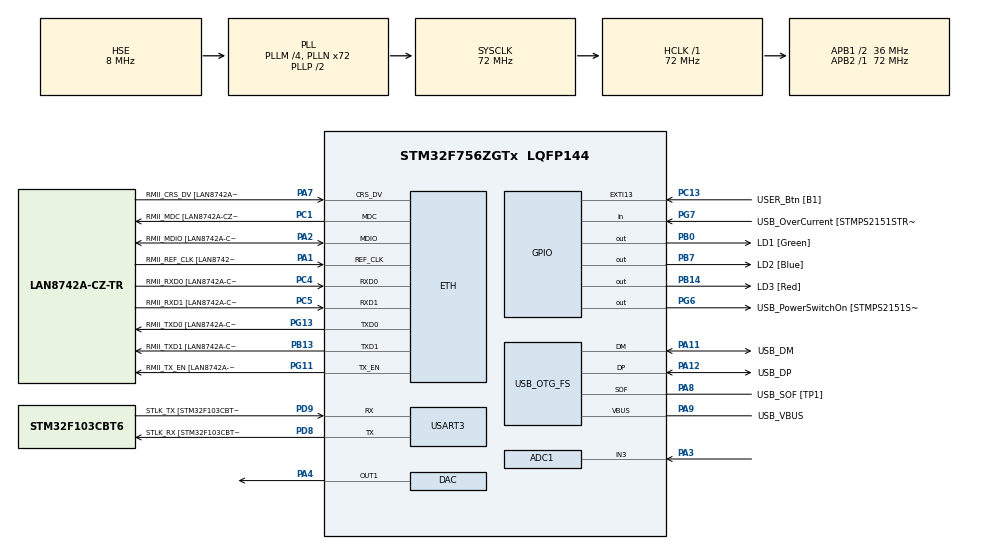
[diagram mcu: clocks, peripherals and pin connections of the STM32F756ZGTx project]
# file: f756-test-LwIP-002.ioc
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ADC1.Channel-0\#ChannelRegularConversion=ADC_CHANNEL_3
ADC1.NbrOfConversionFlag=1
ADC1.Rank-0\#ChannelRegularConversion=1
ADC1.SamplingTime-0\#ChannelRegularConversion=ADC_SAMPLETIME_3CYCLES
ADC1.master=1
DAC.DAC_Trigger=DAC_TRIGGER_NONE
ETH.MediaInterface=ETH_MEDIA_INTERFACE_RMII
ETH.PHY_Name=LAN8742A_PHY_ADDRESS
ETH.PHY_Value=0
ETH.PhyAddress=0
FREERTOS.Tasks01=defaultTask,0,256,StartDefaultTask,Default,NULL,Dynamic,NULL,NULL;t_SetDacValue,2,128,tSetDacValue,Default,NULL,Dynamic,NULL,NULL;t_Console,-2,512,tConsole,Default,NULL,Dynamic,NULL,NULL
FREERTOS.configGENERATE_RUN_TIME_STATS=1
FREERTOS.configUSE_NEWLIB_REENTRANT=1
FREERTOS.configUSE_STATS_FORMATTING_FUNCTIONS=1
FREERTOS.configUSE_TRACE_FACILITY=1
LWIP.LWIP_SNMP=1
LWIP.MEM_SIZE=16360
LWIP.Version=v2.1.2_Cube
Mcu.Family=STM32F7
Mcu.Name=STM32F756ZGTx
Mcu.Package=LQFP144
NVIC.ETH_IRQn=true\:5\:0\:false\:false\:true\:true\:false\:true
NVIC.PriorityGroup=NVIC_PRIORITYGROUP_4
NVIC.TIM1_UP_TIM10_IRQn=true\:15\:0\:false\:false\:true\:false\:false\:true
NVIC.TimeBase=TIM1_UP_TIM10_IRQn
NVIC.TimeBaseIP=TIM1
PA1.GPIO_Label=RMII_REF_CLK [LAN8742A-CZ-TR_REFCLK0]
PA1.Mode=RMII
PA1.Signal=ETH_REF_CLK
PA10.GPIO_Label=USB_ID
PA10.Signal=USB_OTG_FS_ID
PA11.GPIO_Label=USB_DM
PA11.Mode=Device_Only
PA11.Signal=USB_OTG_FS_DM
PA12.GPIO_Label=USB_DP
PA12.Mode=Device_Only
PA12.Signal=USB_OTG_FS_DP
PA13.GPIO_Label=TMS
PA13.Mode=Serial_Wire
PA13.Signal=SYS_JTMS-SWDIO
PA14.GPIO_Label=TCK
PA14.Mode=Serial_Wire
PA14.Signal=SYS_JTCK-SWCLK
PA2.GPIO_Label=RMII_MDIO [LAN8742A-CZ-TR_MDIO]
PA2.Mode=RMII
PA2.Signal=ETH_MDIO
PA3.Signal=ADCx_IN3
PA4.Signal=COMP_DAC1_group
PA7.GPIO_Label=RMII_CRS_DV [LAN8742A-CZ-TR_CRS_DV]
PA7.Mode=RMII
PA7.Signal=ETH_CRS_DV
PA8.GPIO_Label=USB_SOF [TP1]
PA8.Mode=Activate_SOF_FS
PA8.Signal=USB_OTG_FS_SOF
PA9.GPIO_Label=USB_VBUS
PA9.Mode=Activate_VBUS
PA9.Signal=USB_OTG_FS_VBUS
PB0.GPIO_Label=LD1 [Green]
PB0.Signal=GPIO_Output
PB13.GPIO_Label=RMII_TXD1 [LAN8742A-CZ-TR_TXD1]
PB13.Mode=RMII
PB13.Signal=ETH_TXD1
PB14.GPIO_Label=LD3 [Red]
PB14.Signal=GPIO_Output
PB3.GPIO_Label=SW0
PB3.Signal=SYS_JTDO-SWO
PB7.GPIO_Label=LD2 [Blue]
PB7.Signal=GPIO_Output
PC1.GPIO_Label=RMII_MDC [LAN8742A-CZ-TR_MDC]
PC1.Mode=RMII
PC1.Signal=ETH_MDC
PC13.GPIO_Label=USER_Btn [B1]
PC13.Signal=GPXTI13
PC14/OSC32_IN.Mode=LSE-External-Oscillator
PC14/OSC32_IN.Signal=RCC_OSC32_IN
PC15/OSC32_OUT.Mode=LSE-External-Oscillator
PC15/OSC32_OUT.Signal=RCC_OSC32_OUT
PC4.GPIO_Label=RMII_RXD0 [LAN8742A-CZ-TR_RXD0]
PC4.Mode=RMII
PC4.Signal=ETH_RXD0
PC5.GPIO_Label=RMII_RXD1 [LAN8742A-CZ-TR_RXD1]
PC5.Mode=RMII
PC5.Signal=ETH_RXD1
PD8.GPIO_Label=STLK_RX [STM32F103CBT6_PA3]
PD8.Mode=Asynchronous
PD8.Signal=USART3_TX
PD9.GPIO_Label=STLK_TX [STM32F103CBT6_PA2]
PD9.Mode=Asynchronous
PD9.Signal=USART3_RX
PG11.GPIO_Label=RMII_TX_EN [LAN8742A-CZ-TR_TXEN]
PG11.Mode=RMII
PG11.Signal=ETH_TX_EN
PG13.GPIO_Label=RMII_TXD0 [LAN8742A-CZ-TR_TXD0]
PG13.Mode=RMII
PG13.Signal=ETH_TXD0
PG6.GPIO_Label=USB_PowerSwitchOn [STMPS2151STR_EN]
PG6.Signal=GPIO_Output
PG7.GPIO_Label=USB_OverCurrent [STMPS2151STR_FAULT]
PG7.Signal=GPIO_Input
PH0/OSC_IN.GPIO_Label=MCO [STM32F103CBT6_PA8]
PH0/OSC_IN.Mode=HSE-External-Clock-Source
PH0/OSC_IN.Signal=RCC_OSC_IN
PH1/OSC_OUT.Mode=HSE-External-Clock-Source
PH1/OSC_OUT.Signal=RCC_OSC_OUT
ProjectManager.HeapSize=0x200
ProjectManager.StackSize=0x400
ProjectManager.TargetToolchain=STM32CubeIDE
RCC.48MHZClocksFreq_Value=24000000
RCC.AHBFreq_Value=72000000
RCC.APB1CLKDivider=RCC_HCLK_DIV2
RCC.APB1Freq_Value=36000000
RCC.APB1TimFreq_Value=72000000
RCC.APB2Freq_Value=72000000
RCC.APB2TimFreq_Value=72000000
RCC.CortexFreq_Value=72000000
RCC.HCLKFreq_Value=72000000
RCC.HSE_VALUE=8000000
RCC.HSI_VALUE=16000000
RCC.PLLM=4
RCC.PLLMUL=RCC_PLL_MUL9
RCC.PLLN=72
RCC.PLLQ=3
RCC.PRESCALERUSB=RCC_USBCLKSOURCE_PLL_DIV1_5
RCC.SYSCLKFreq_VALUE=72000000
RCC.SYSCLKSource=RCC_SYSCLKSOURCE_PLLCLK
RCC.SYSCLKSourceVirtual=RCC_SYSCLKSOURCE_PLLCLK
RCC.USBFreq_Value=48000000
RCC.VCOOutputFreq_Value=144000000
SH.ADCx_IN3.0=ADC1_IN3,IN3
SH.COMP_DAC1_group.0=DAC_OUT1,DAC_OUT1
USART3.VirtualMode-Asynchronous=VM_ASYNC
USB_OTG_FS.VirtualMode=Device_Only
VP_FREERTOS_VS_CMSIS_V1.Mode=CMSIS_V1
VP_LWIP_VS_Enabled.Mode=Enabled
VP_RTC_VS_RTC_Activate.Mode=RTC_Enabled
VP_SYS_VS_tim1.Mode=TIM1
board=NUCLEO-F756ZG

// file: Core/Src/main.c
/* USER CODE BEGIN Header */
/**
  ******************************************************************************
  * @file           : main.c
  * @brief          : Main program body
  ******************************************************************************
  * @attention
  *
  * Copyright (c) 2022 STMicroelectronics.
  * All rights reserved.
  *
  * This software is licensed under terms that can be found in the LICENSE file
  * in the root directory of this software component.
  * If no LICENSE file comes with this software, it is provided AS-IS.
  *
  ******************************************************************************
  */
/* USER CODE END Header */
#include "main.h"
#include "cmsis_os.h"
#include "lwip.h"

/* USER CODE BEGIN Includes */
#include "lwip/udp.h"
#include "snmp_agent.h"
#include "console.h"
#include "commands.h"
#include <string.h>

/* USER CODE END Includes */

ADC_HandleTypeDef hadc1;

DAC_HandleTypeDef hdac;

RTC_HandleTypeDef hrtc;

UART_HandleTypeDef huart3;

PCD_HandleTypeDef hpcd_USB_OTG_FS;

osThreadId defaultTaskHandle;
osThreadId t_SetDacValueHandle;
osThreadId t_ConsoleHandle;
/* USER CODE BEGIN PV */

uint32_t dacVal = 0;
uint32_t adcVal = 0;

/* USER CODE END PV */

void SystemClock_Config(void);
static void MX_GPIO_Init(void);
static void MX_USART3_UART_Init(void);
static void MX_USB_OTG_FS_PCD_Init(void);
static void MX_ADC1_Init(void);
static void MX_DAC_Init(void);
static void MX_RTC_Init(void);
void StartDefaultTask(void const * argument);
void tSetDacValue(void const * argument);
void tConsole(void const * argument);

int main(void)
{

  /* MCU Configuration--------------------------------------------------------*/

  /* Reset of all peripherals, Initializes the Flash interface and the Systick. */
  HAL_Init();

  /* Configure the system clock */
  SystemClock_Config();

  /* Initialize all configured peripherals */
  MX_GPIO_Init();
  MX_USART3_UART_Init();
  MX_USB_OTG_FS_PCD_Init();
  MX_ADC1_Init();
  MX_DAC_Init();
  MX_RTC_Init();

  /* Create the thread(s) */
  /* definition and creation of defaultTask */
  osThreadDef(defaultTask, StartDefaultTask, osPriorityNormal, 0, 256);
  defaultTaskHandle = osThreadCreate(osThread(defaultTask), NULL);

  /* definition and creation of t_SetDacValue */
  osThreadDef(t_SetDacValue, tSetDacValue, osPriorityHigh, 0, 128);
  t_SetDacValueHandle = osThreadCreate(osThread(t_SetDacValue), NULL);

  /* definition and creation of t_Console */
  osThreadDef(t_Console, tConsole, osPriorityLow, 0, 512);
  t_ConsoleHandle = osThreadCreate(osThread(t_Console), NULL);

  /* Start scheduler */
  osKernelStart();

  /* We should never get here as control is now taken by the scheduler */
  /* Infinite loop */
  while (1)
  {

  }
}

void SystemClock_Config(void)
{
  RCC_OscInitTypeDef RCC_OscInitStruct = {0};
  RCC_ClkInitTypeDef RCC_ClkInitStruct = {0};

  /** Configure LSE Drive Capability
  */
  HAL_PWR_EnableBkUpAccess();
  /** Configure the main internal regulator output voltage
  */
  __HAL_RCC_PWR_CLK_ENABLE();
  __HAL_PWR_VOLTAGESCALING_CONFIG(PWR_REGULATOR_VOLTAGE_SCALE3);
  /** Initializes the RCC Oscillators according to the specified parameters
  * in the RCC_OscInitTypeDef structure.
  */
  RCC_OscInitStruct.OscillatorType = RCC_OSCILLATORTYPE_LSI|RCC_OSCILLATORTYPE_HSE;
  RCC_OscInitStruct.HSEState = RCC_HSE_BYPASS;
  RCC_OscInitStruct.LSIState = RCC_LSI_ON;
  RCC_OscInitStruct.PLL.PLLState = RCC_PLL_ON;
  RCC_OscInitStruct.PLL.PLLSource = RCC_PLLSOURCE_HSE;
  RCC_OscInitStruct.PLL.PLLM = 4;
  RCC_OscInitStruct.PLL.PLLN = 72;
  RCC_OscInitStruct.PLL.PLLP = RCC_PLLP_DIV2;
  RCC_OscInitStruct.PLL.PLLQ = 3;
  if (HAL_RCC_OscConfig(&RCC_OscInitStruct) != HAL_OK)
  {
    Error_Handler();
  }
  /** Initializes the CPU, AHB and APB buses clocks
  */
  RCC_ClkInitStruct.ClockType = RCC_CLOCKTYPE_HCLK|RCC_CLOCKTYPE_SYSCLK
                              |RCC_CLOCKTYPE_PCLK1|RCC_CLOCKTYPE_PCLK2;
  RCC_ClkInitStruct.SYSCLKSource = RCC_SYSCLKSOURCE_PLLCLK;
  RCC_ClkInitStruct.AHBCLKDivider = RCC_SYSCLK_DIV1;
  RCC_ClkInitStruct.APB1CLKDivider = RCC_HCLK_DIV2;
  RCC_ClkInitStruct.APB2CLKDivider = RCC_HCLK_DIV1;

  if (HAL_RCC_ClockConfig(&RCC_ClkInitStruct, FLASH_LATENCY_2) != HAL_OK)
  {
    Error_Handler();
  }
}

static void MX_ADC1_Init(void)
{

  ADC_ChannelConfTypeDef sConfig = {0};

  /** Configure the global features of the ADC (Clock, Resolution, Data Alignment and number of conversion)
  */
  hadc1.Instance = ADC1;
  hadc1.Init.ClockPrescaler = ADC_CLOCK_SYNC_PCLK_DIV2;
  hadc1.Init.Resolution = ADC_RESOLUTION_12B;
  hadc1.Init.ScanConvMode = ADC_SCAN_DISABLE;
  hadc1.Init.ContinuousConvMode = DISABLE;
  hadc1.Init.DiscontinuousConvMode = DISABLE;
  hadc1.Init.ExternalTrigConvEdge = ADC_EXTERNALTRIGCONVEDGE_NONE;
  hadc1.Init.ExternalTrigConv = ADC_SOFTWARE_START;
  hadc1.Init.DataAlign = ADC_DATAALIGN_RIGHT;
  hadc1.Init.NbrOfConversion = 1;
  hadc1.Init.DMAContinuousRequests = DISABLE;
  hadc1.Init.EOCSelection = ADC_EOC_SINGLE_CONV;
  if (HAL_ADC_Init(&hadc1) != HAL_OK)
  {
    Error_Handler();
  }
  /** Configure for the selected ADC regular channel its corresponding rank in the sequencer and its sample time.
  */
  sConfig.Channel = ADC_CHANNEL_3;
  sConfig.Rank = ADC_REGULAR_RANK_1;
  sConfig.SamplingTime = ADC_SAMPLETIME_3CYCLES;
  if (HAL_ADC_ConfigChannel(&hadc1, &sConfig) != HAL_OK)
  {
    Error_Handler();
  }

}

static void MX_DAC_Init(void)
{

  DAC_ChannelConfTypeDef sConfig = {0};

  /** DAC Initialization
  */
  hdac.Instance = DAC;
  if (HAL_DAC_Init(&hdac) != HAL_OK)
  {
    Error_Handler();
  }
  /** DAC channel OUT1 config
  */
  sConfig.DAC_Trigger = DAC_TRIGGER_NONE;
  sConfig.DAC_OutputBuffer = DAC_OUTPUTBUFFER_ENABLE;
  if (HAL_DAC_ConfigChannel(&hdac, &sConfig, DAC_CHANNEL_1) != HAL_OK)
  {
    Error_Handler();
  }

}

static void MX_RTC_Init(void)
{

  /** Initialize RTC Only
  */
  hrtc.Instance = RTC;
  hrtc.Init.HourFormat = RTC_HOURFORMAT_24;
  hrtc.Init.AsynchPrediv = 127;
  hrtc.Init.SynchPrediv = 255;
  hrtc.Init.OutPut = RTC_OUTPUT_DISABLE;
  hrtc.Init.OutPutPolarity = RTC_OUTPUT_POLARITY_HIGH;
  hrtc.Init.OutPutType = RTC_OUTPUT_TYPE_OPENDRAIN;
  if (HAL_RTC_Init(&hrtc) != HAL_OK)
  {
    Error_Handler();
  }

}

static void MX_USART3_UART_Init(void)
{

  huart3.Instance = USART3;
  huart3.Init.BaudRate = 115200;
  huart3.Init.WordLength = UART_WORDLENGTH_8B;
  huart3.Init.StopBits = UART_STOPBITS_1;
  huart3.Init.Parity = UART_PARITY_NONE;
  huart3.Init.Mode = UART_MODE_TX_RX;
  huart3.Init.HwFlowCtl = UART_HWCONTROL_NONE;
  huart3.Init.OverSampling = UART_OVERSAMPLING_16;
  huart3.Init.OneBitSampling = UART_ONE_BIT_SAMPLE_DISABLE;
  huart3.AdvancedInit.AdvFeatureInit = UART_ADVFEATURE_NO_INIT;
  if (HAL_UART_Init(&huart3) != HAL_OK)
  {
    Error_Handler();
  }

}

static void MX_USB_OTG_FS_PCD_Init(void)
{

  hpcd_USB_OTG_FS.Instance = USB_OTG_FS;
  hpcd_USB_OTG_FS.Init.dev_endpoints = 6;
  hpcd_USB_OTG_FS.Init.speed = PCD_SPEED_FULL;
  hpcd_USB_OTG_FS.Init.dma_enable = DISABLE;
  hpcd_USB_OTG_FS.Init.phy_itface = PCD_PHY_EMBEDDED;
  hpcd_USB_OTG_FS.Init.Sof_enable = ENABLE;
  hpcd_USB_OTG_FS.Init.low_power_enable = DISABLE;
  hpcd_USB_OTG_FS.Init.lpm_enable = DISABLE;
  hpcd_USB_OTG_FS.Init.vbus_sensing_enable = ENABLE;
  hpcd_USB_OTG_FS.Init.use_dedicated_ep1 = DISABLE;
  if (HAL_PCD_Init(&hpcd_USB_OTG_FS) != HAL_OK)
  {
    Error_Handler();
  }

}

static void MX_GPIO_Init(void)
{
  GPIO_InitTypeDef GPIO_InitStruct = {0};

  /* GPIO Ports Clock Enable */
  __HAL_RCC_GPIOC_CLK_ENABLE();
  __HAL_RCC_GPIOH_CLK_ENABLE();
  __HAL_RCC_GPIOA_CLK_ENABLE();
  __HAL_RCC_GPIOB_CLK_ENABLE();
  __HAL_RCC_GPIOD_CLK_ENABLE();
  __HAL_RCC_GPIOG_CLK_ENABLE();

  /*Configure GPIO pin Output Level */
  HAL_GPIO_WritePin(GPIOB, LD1_Pin|LD3_Pin|LD2_Pin, GPIO_PIN_RESET);

  /*Configure GPIO pin Output Level */
  HAL_GPIO_WritePin(USB_PowerSwitchOn_GPIO_Port, USB_PowerSwitchOn_Pin, GPIO_PIN_RESET);

  /*Configure GPIO pin : USER_Btn_Pin */
  GPIO_InitStruct.Pin = USER_Btn_Pin;
  GPIO_InitStruct.Mode = GPIO_MODE_IT_RISING;
  GPIO_InitStruct.Pull = GPIO_NOPULL;
  HAL_GPIO_Init(USER_Btn_GPIO_Port, &GPIO_InitStruct);

  /*Configure GPIO pins : LD1_Pin LD3_Pin LD2_Pin */
  GPIO_InitStruct.Pin = LD1_Pin|LD3_Pin|LD2_Pin;
  GPIO_InitStruct.Mode = GPIO_MODE_OUTPUT_PP;
  GPIO_InitStruct.Pull = GPIO_NOPULL;
  GPIO_InitStruct.Speed = GPIO_SPEED_FREQ_LOW;
  HAL_GPIO_Init(GPIOB, &GPIO_InitStruct);

  /*Configure GPIO pin : USB_PowerSwitchOn_Pin */
  GPIO_InitStruct.Pin = USB_PowerSwitchOn_Pin;
  GPIO_InitStruct.Mode = GPIO_MODE_OUTPUT_PP;
  GPIO_InitStruct.Pull = GPIO_NOPULL;
  GPIO_InitStruct.Speed = GPIO_SPEED_FREQ_LOW;
  HAL_GPIO_Init(USB_PowerSwitchOn_GPIO_Port, &GPIO_InitStruct);

  /*Configure GPIO pin : USB_OverCurrent_Pin */
  GPIO_InitStruct.Pin = USB_OverCurrent_Pin;
  GPIO_InitStruct.Mode = GPIO_MODE_INPUT;
  GPIO_InitStruct.Pull = GPIO_NOPULL;
  HAL_GPIO_Init(USB_OverCurrent_GPIO_Port, &GPIO_InitStruct);

}

/* USER CODE BEGIN 4 */

uint32_t Read_ADC_Value(ADC_HandleTypeDef *adc) {
	uint32_t adcval;
    HAL_ADC_Start(adc);
    HAL_ADC_PollForConversion(adc,20);
    adcval = HAL_ADC_GetValue(adc);
    HAL_ADC_Stop(adc);
    return adcval;
}

/**
 *  @brief User defined handling of the network link status change
 *  @param netif: Network interface that change link status
 */
void ethernetif_notify_conn_changed(struct netif *netif)
{
	//Signal that link has changed
	HAL_GPIO_TogglePin(GPIOB, LD2_Pin);

	//Check if the link is up but the interface was not brought up
	if (netif_is_link_up(netif) && !netif_is_up(netif)) {
		netif_set_up(netif);
		dhcp_start(netif);
	}
}

/* USER CODE END 4 */

void StartDefaultTask(void const * argument)
{
  /* init code for LWIP */
  MX_LWIP_Init();
  /* USER CODE BEGIN 5 */
  char *message = malloc(1024);
  int msglen = 0;
  RTC_TimeTypeDef time;
  RTC_DateTypeDef date;

  // Initialize the SNMP Agent
  SNMP_Info snmp_info;
  snmp_info.syscontact = (u8_t*)"admin";
  snmp_info.syslocation = (u8_t*)"DevLab";
  snmp_info.sysdescr = (u8_t*)"My test device";
  SNMP_agent_init_with_info(&snmp_info);

  osDelay(1000);

  HAL_RTC_Init(&hrtc);

  ip_addr_t PC_IPADDR;
  IP_ADDR4(&PC_IPADDR, 10, 0, 1, 160);

  struct udp_pcb* my_udp = udp_new();
  udp_connect(my_udp, &PC_IPADDR, 55151);
  struct pbuf* udp_buffer = NULL;

  /* Infinite loop */
  for (;;) {
	HAL_GPIO_TogglePin(GPIOB, LD1_Pin);
    osDelay(1000);
    HAL_RTC_GetTime(&hrtc, &time, RTC_FORMAT_BIN);
    HAL_RTC_GetDate(&hrtc, &date, RTC_FORMAT_BIN);
    adcVal = Read_ADC_Value(&hadc1);

    msglen = snprintf(message, 1024, "[20%02u-%02u-%02u %02u:%02u:%02u] (%lu) = %lu \n\r", date.Year, date.Month, date.Date, time.Hours, time.Minutes, time.Seconds, dacVal, adcVal);
    /* !! PBUF_RAM is critical for correct operation !! */
    udp_buffer = pbuf_alloc(PBUF_TRANSPORT, msglen, PBUF_RAM);

    if (udp_buffer != NULL) {
      memcpy(udp_buffer->payload, message, msglen);
      udp_send(my_udp, udp_buffer);
      pbuf_free(udp_buffer);
    }
  }
  /* USER CODE END 5 */
}

void tSetDacValue(void const * argument)
{
  /* USER CODE BEGIN tSetDacValue */
  /* Infinite loop */
  HAL_DAC_Start(&hdac, DAC_CHANNEL_1);
  for(;;)
  {
	HAL_GPIO_TogglePin(GPIOB, LD3_Pin);
	dacVal = (dacVal + 100) % 4096;
	HAL_DAC_SetValue(&hdac, DAC_CHANNEL_1, DAC_ALIGN_12B_R, dacVal);
	osDelay(3000);
  }
  /* USER CODE END tSetDacValue */
}

void tConsole(void const * argument)
{
  /* USER CODE BEGIN tConsole */
  /* Infinite loop */
  uint8_t pNewLine[] = "\n\r";
  uint8_t pValidCommand[] = "\e[32mValid Command\e[0m";
  uint8_t pWrongCommand[] = "\e[31mInvalid command\e[0m";
  uint8_t cmdBuff[1024];
  uint8_t* argv[32];
  int count=0;

  CONSOLE_CMD_init();

  for(;;)
  {
	  // Wait for user input
	  count = readCommand(&huart3, cmdBuff, sizeof(cmdBuff));
	  // Tokenize the user input
	  count = tokenizeCommand(cmdBuff, count, (uint8_t **)&argv, 32);
	  // Check how many tokens we had received
	  if (count > 0) {
		  // We have captured a command in the buffer, search for the command in the list
		  cCommand *cmd = findCommand(argv[0]);
		  if ( cmd != NULL) {
			  // If command is found, execute the command
			  HAL_UART_Transmit(&huart3, pNewLine, sizeof(pNewLine),1000);
			  cmd->callback(&huart3, argv, count);
		  } else {
			  // Command not found
			  HAL_UART_Transmit(&huart3, pNewLine, sizeof(pNewLine),1000);
			  HAL_UART_Transmit(&huart3, pWrongCommand, sizeof(pWrongCommand),1000);
		  }
	  }
  }
  /* USER CODE END tConsole */
}

void HAL_TIM_PeriodElapsedCallback(TIM_HandleTypeDef *htim)
{
  if (htim->Instance == TIM1) {
    HAL_IncTick();
  }
}

void Error_Handler(void)
{
  __disable_irq();
  while (1)
  {
  }
}

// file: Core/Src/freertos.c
/* USER CODE BEGIN Header */
/**
  ******************************************************************************
  * File Name          : freertos.c
  * Description        : Code for freertos applications
  ******************************************************************************
  * @attention
  *
  * Copyright (c) 2022 STMicroelectronics.
  * All rights reserved.
  *
  * This software is licensed under terms that can be found in the LICENSE file
  * in the root directory of this software component.
  * If no LICENSE file comes with this software, it is provided AS-IS.
  *
  ******************************************************************************
  */
/* USER CODE END Header */

#include "FreeRTOS.h"
#include "task.h"
#include "main.h"

/* GetIdleTaskMemory prototype (linked to static allocation support) */
void vApplicationGetIdleTaskMemory( StaticTask_t **ppxIdleTaskTCBBuffer, StackType_t **ppxIdleTaskStackBuffer, uint32_t *pulIdleTaskStackSize );

/* Hook prototypes */
void configureTimerForRunTimeStats(void);
unsigned long getRunTimeCounterValue(void);

/* USER CODE BEGIN 1 */
/* Functions needed when configGENERATE_RUN_TIME_STATS is on */
__weak void configureTimerForRunTimeStats(void)
{

}

__weak unsigned long getRunTimeCounterValue(void)
{
return 0;
}
/* USER CODE END 1 */

/* USER CODE BEGIN GET_IDLE_TASK_MEMORY */
static StaticTask_t xIdleTaskTCBBuffer;
static StackType_t xIdleStack[configMINIMAL_STACK_SIZE];

void vApplicationGetIdleTaskMemory( StaticTask_t **ppxIdleTaskTCBBuffer, StackType_t **ppxIdleTaskStackBuffer, uint32_t *pulIdleTaskStackSize )
{
  *ppxIdleTaskTCBBuffer = &xIdleTaskTCBBuffer;
  *ppxIdleTaskStackBuffer = &xIdleStack[0];
  *pulIdleTaskStackSize = configMINIMAL_STACK_SIZE;
  /* place for user code */
}
/* USER CODE END GET_IDLE_TASK_MEMORY */
